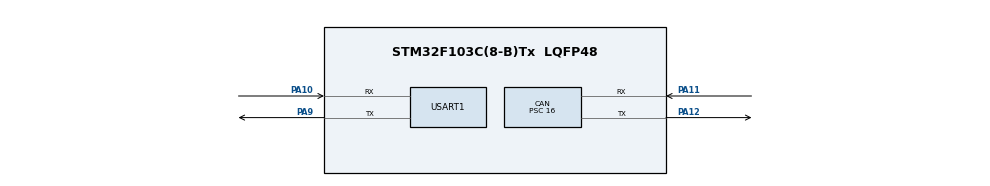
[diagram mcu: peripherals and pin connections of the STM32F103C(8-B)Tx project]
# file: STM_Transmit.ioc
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CAN.ABOM=ENABLE
CAN.BS1=CAN_BS1_4TQ
CAN.BS2=CAN_BS2_5TQ
CAN.CalculateBaudRate=50000
CAN.CalculateTimeBit=20000
CAN.CalculateTimeQuantum=2000.0
CAN.Mode=CAN_MODE_LOOPBACK
CAN.NART=ENABLE
CAN.Prescaler=16
Mcu.Family=STM32F1
Mcu.Name=STM32F103C(8-B)Tx
Mcu.Package=LQFP48
NVIC.PriorityGroup=NVIC_PRIORITYGROUP_4
PA10.Mode=Asynchronous
PA10.Signal=USART1_RX
PA11.Mode=CAN_Activate
PA11.Signal=CAN_RX
PA12.Mode=CAN_Activate
PA12.Signal=CAN_TX
PA13.Mode=Serial_Wire
PA13.Signal=SYS_JTMS-SWDIO
PA14.Mode=Serial_Wire
PA14.Signal=SYS_JTCK-SWCLK
PA9.Mode=Asynchronous
PA9.Signal=USART1_TX
ProjectManager.HeapSize=0x200
ProjectManager.StackSize=0x400
ProjectManager.TargetToolchain=STM32CubeIDE
RCC.APB1Freq_Value=8000000
RCC.APB2Freq_Value=8000000
USART1.VirtualMode=VM_ASYNC
board=custom

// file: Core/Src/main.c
/* USER CODE BEGIN Header */
/**
  ******************************************************************************
  * @file           : main.c
  * @brief          : Main program body
  ******************************************************************************
  * @attention
  *
  * Copyright (c) 2025 STMicroelectronics.
  * All rights reserved.
  *
  * This software is licensed under terms that can be found in the LICENSE file
  * in the root directory of this software component.
  * If no LICENSE file comes with this software, it is provided AS-IS.
  *
  ******************************************************************************
  */
/* USER CODE END Header */
#include "main.h"

CAN_HandleTypeDef hcan;

UART_HandleTypeDef huart1;

/* USER CODE BEGIN PV */
CAN_TxHeaderTypeDef TxHeader;
CAN_RxHeaderTypeDef RxHeader;
uint8_t TxData[8] = {0x11, 0x22, 0x33, 0x44, 0x55, 0x66, 0x77, 0x88};
uint8_t RxData[8];
uint32_t TxMailbox;
/* USER CODE END PV */

void SystemClock_Config(void);
static void MX_GPIO_Init(void);
static void MX_CAN_Init(void);
static void MX_USART1_UART_Init(void);

/* USER CODE BEGIN 0 */
/* 🟢 Redirect printf to UART (for debugging) */
int _write(int file, char *ptr, int len) {
    HAL_UART_Transmit(&huart1, (uint8_t*) ptr, len, HAL_MAX_DELAY);
    return len;
}
/* Transmit CAN Message */
void CAN_Tx(void) {
    CAN_TxHeaderTypeDef TxHeader;
    uint8_t TxData[8] = {0x11, 0x22, 0x33, 0x44, 0x55, 0x66, 0x77, 0x88};
    uint32_t TxMailbox;

    TxHeader.StdId = 0x321;  // Standard ID
    TxHeader.ExtId = 0x00;   // Extended ID (not used here)
    TxHeader.IDE = CAN_ID_STD;
    TxHeader.RTR = CAN_RTR_DATA;
    TxHeader.DLC = 8;        // 8-byte data length

    if (HAL_CAN_AddTxMessage(&hcan, &TxHeader, TxData, &TxMailbox) != HAL_OK) {
//        Error_Handler();
    	printf("Transmit not ok \n\r");
    }
}
/* Receive CAN Message */
void HAL_CAN_RxFifo0MsgPendingCallback(CAN_HandleTypeDef *hcan) {
    CAN_RxHeaderTypeDef RxHeader;
    uint8_t RxData[8];

    // Read the message from FIFO 0
    if (HAL_CAN_GetRxMessage(hcan, CAN_RX_FIFO0, &RxHeader, RxData) == HAL_OK) {
        // Process received message
        printf("Received CAN message: ID=0x%X, Data= %X %X %X %X %X %X %X %X\n",
               RxHeader.StdId, RxData[0], RxData[1], RxData[2], RxData[3],
               RxData[4], RxData[5], RxData[6], RxData[7]);
    } else {
    	printf("Receive not ok \n\r");
    }
}

/* USER CODE END 0 */

int main(void)
{

  /* MCU Configuration--------------------------------------------------------*/

  /* Reset of all peripherals, Initializes the Flash interface and the Systick. */
  HAL_Init();

  /* Configure the system clock */
  SystemClock_Config();

  /* Initialize all configured peripherals */
  MX_GPIO_Init();
  MX_CAN_Init();
  MX_USART1_UART_Init();

  /* Infinite loop */
  /* USER CODE BEGIN WHILE */
  while (1)
  {
	  CAN_Tx();
    /* USER CODE END WHILE */

  }
}

void SystemClock_Config(void)
{
  RCC_OscInitTypeDef RCC_OscInitStruct = {0};
  RCC_ClkInitTypeDef RCC_ClkInitStruct = {0};

  /** Initializes the RCC Oscillators according to the specified parameters
  * in the RCC_OscInitTypeDef structure.
  */
  RCC_OscInitStruct.OscillatorType = RCC_OSCILLATORTYPE_HSI;
  RCC_OscInitStruct.HSIState = RCC_HSI_ON;
  RCC_OscInitStruct.HSICalibrationValue = RCC_HSICALIBRATION_DEFAULT;
  RCC_OscInitStruct.PLL.PLLState = RCC_PLL_NONE;
  if (HAL_RCC_OscConfig(&RCC_OscInitStruct) != HAL_OK)
  {
    Error_Handler();
  }

  /** Initializes the CPU, AHB and APB buses clocks
  */
  RCC_ClkInitStruct.ClockType = RCC_CLOCKTYPE_HCLK|RCC_CLOCKTYPE_SYSCLK
                              |RCC_CLOCKTYPE_PCLK1|RCC_CLOCKTYPE_PCLK2;
  RCC_ClkInitStruct.SYSCLKSource = RCC_SYSCLKSOURCE_HSI;
  RCC_ClkInitStruct.AHBCLKDivider = RCC_SYSCLK_DIV1;
  RCC_ClkInitStruct.APB1CLKDivider = RCC_HCLK_DIV1;
  RCC_ClkInitStruct.APB2CLKDivider = RCC_HCLK_DIV1;

  if (HAL_RCC_ClockConfig(&RCC_ClkInitStruct, FLASH_LATENCY_0) != HAL_OK)
  {
    Error_Handler();
  }
}

static void MX_CAN_Init(void)
{

  hcan.Instance = CAN1;
  hcan.Init.Prescaler = 16;
  hcan.Init.Mode = CAN_MODE_LOOPBACK;
  hcan.Init.SyncJumpWidth = CAN_SJW_1TQ;
  hcan.Init.TimeSeg1 = CAN_BS1_4TQ;
  hcan.Init.TimeSeg2 = CAN_BS2_5TQ;
  hcan.Init.TimeTriggeredMode = DISABLE;
  hcan.Init.AutoBusOff = ENABLE;
  hcan.Init.AutoWakeUp = DISABLE;
  hcan.Init.AutoRetransmission = ENABLE;
  hcan.Init.ReceiveFifoLocked = DISABLE;
  hcan.Init.TransmitFifoPriority = DISABLE;
  if (HAL_CAN_Init(&hcan) != HAL_OK)
  {
    Error_Handler();
  }
  /* USER CODE BEGIN CAN_Init 2 */
  /* Configure CAN Filter */
  CAN_FilterTypeDef canFilter;
  canFilter.FilterBank = 0;
  canFilter.FilterMode = CAN_FILTERMODE_IDMASK;
  canFilter.FilterScale = CAN_FILTERSCALE_32BIT;
  canFilter.FilterIdHigh = 0x0000;
  canFilter.FilterIdLow = 0x0000;
  canFilter.FilterMaskIdHigh = 0x0000;
  canFilter.FilterMaskIdLow = 0x0000;
  canFilter.FilterFIFOAssignment = CAN_FILTER_FIFO0;
  canFilter.FilterActivation = ENABLE;
  canFilter.SlaveStartFilterBank = 14;

  HAL_CAN_ConfigFilter(&hcan, &canFilter);

  /* Start CAN */
  HAL_CAN_Start(&hcan);

  /* Enable Interrupt */
  HAL_CAN_ActivateNotification(&hcan, CAN_IT_RX_FIFO0_MSG_PENDING);
  /* USER CODE END CAN_Init 2 */

}

static void MX_USART1_UART_Init(void)
{

  huart1.Instance = USART1;
  huart1.Init.BaudRate = 115200;
  huart1.Init.WordLength = UART_WORDLENGTH_8B;
  huart1.Init.StopBits = UART_STOPBITS_1;
  huart1.Init.Parity = UART_PARITY_NONE;
  huart1.Init.Mode = UART_MODE_TX_RX;
  huart1.Init.HwFlowCtl = UART_HWCONTROL_NONE;
  huart1.Init.OverSampling = UART_OVERSAMPLING_16;
  if (HAL_UART_Init(&huart1) != HAL_OK)
  {
    Error_Handler();
  }

}

static void MX_GPIO_Init(void)
{

  /* GPIO Ports Clock Enable */
  __HAL_RCC_GPIOA_CLK_ENABLE();

}

void Error_Handler(void)
{
  __disable_irq();
  while (1)
  {
  }
}
